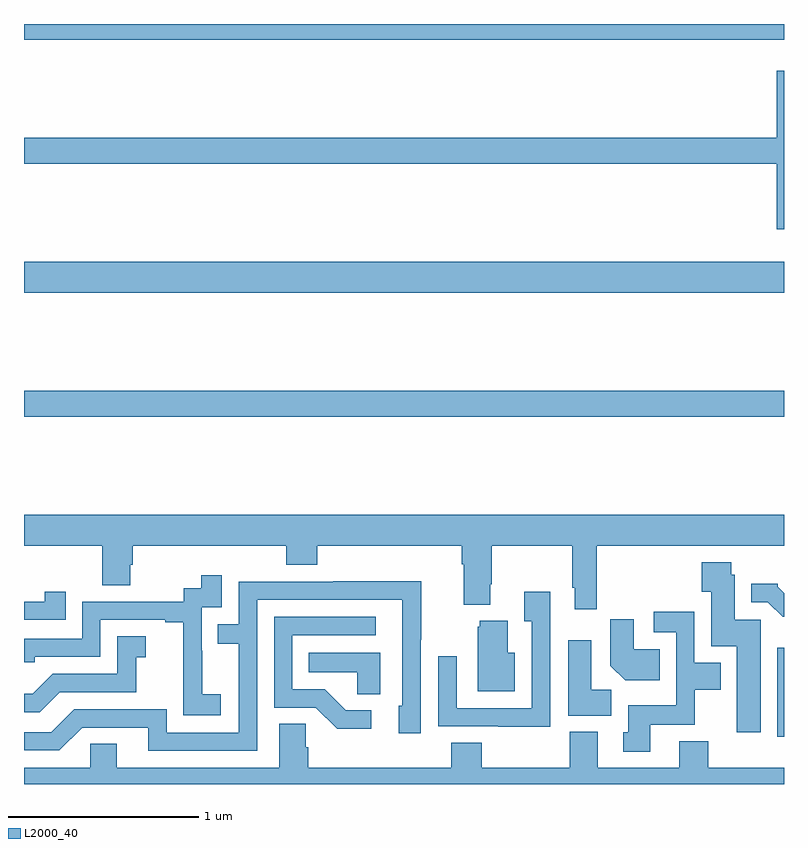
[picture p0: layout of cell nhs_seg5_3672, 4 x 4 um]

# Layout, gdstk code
import gdstk
lib = gdstk.Library(unit=1e-6, precision=1e-09)
def R(c, l, rs):  # rectangles x0, y0, x1, y1
    for r in rs: c.add(gdstk.rectangle(r[:2], r[2:], *l))
def P(c, l, *ps):  # polygons
    for p in ps: c.add(gdstk.Polygon(p, *l))
L2000_40 = (2000, 40)

nhs_seg5_3672 = lib.new_cell('nhs_seg5_3672')
R(nhs_seg5_3672, L2000_40, [(330.965,897.048,331,897.517), (327,898.732,331,898.868), (327,899.384,331,899.548), (327,900.716,331,900.799)])
P(nhs_seg5_3672, L2000_40, [(331,900.553),(330.962,900.553),(330.962,900.2),(327,900.2),(327,900.064),(330.962,900.064),(330.962,899.718),(331,899.718)],
  [(330.014,898.052),(331,898.052),(331,898.216),(327,898.216),(327,898.052),(327.412,898.052),(327.412,897.844),(327.559,897.844),(327.559,897.954),(327.572,897.954),(327.572,898.052),(328.379,898.052),(328.379,897.953),(328.544,897.953),(328.544,898.052),(329.303,898.052),(329.303,897.956),(329.315,897.956),(329.315,897.743),(329.455,897.743),(329.455,897.85),(329.463,897.85),(329.463,898.052),(329.886,898.052),(329.886,897.832),(329.898,897.832),(329.898,897.72),(330.014,897.72)],
  [(330.877,897.663),(330.742,897.663),(330.742,897.9),(330.723,897.9),(330.723,897.967),(330.566,897.967),(330.566,897.811),(330.617,897.811),(330.617,897.524),(330.752,897.524),(330.752,897.072),(330.877,897.072)],
  [(328.036,897.271),(327.938,897.271),(327.938,897.5),(327.936,897.5),(327.936,897.729),(328.041,897.729),(328.041,897.898),(327.933,897.898),(327.933,897.828),(327.84,897.828),(327.84,897.759),(327.306,897.759),(327.306,897.564),(327,897.564),(327,897.441),(327.057,897.441),(327.057,897.468),(327.402,897.468),(327.402,897.663),(327.743,897.663),(327.743,897.651),(327.839,897.651),(327.839,897.367),(327.838,897.367),(327.838,897.161),(328.036,897.161)],
  [(328.227,897.768),(328.992,897.768),(328.992,897.21),(328.973,897.21),(328.973,897.066),(329.088,897.066),(329.088,897.559),(329.091,897.559),(329.091,897.866),(328.627,897.866),(328.627,897.864),(328.131,897.864),(328.131,897.639),(328.021,897.639),(328.021,897.538),(328.131,897.538),(328.131,897.069),(327.75,897.069),(327.75,897.192),(327.264,897.192),(327.144,897.072),(327,897.072),(327,896.976),(327.186,896.976),(327.306,897.096),(327.653,897.096),(327.653,896.973),(328.227,896.973)],
  [(331,897.804),(330.966,897.838),(330.966,897.853),(330.827,897.853),(330.827,897.756),(330.915,897.756),(330.994,897.678),(331,897.678)],
  [(329.769,897.811),(329.633,897.811),(329.633,897.655),(329.673,897.655),(329.673,897.198),(329.277,897.198),(329.277,897.472),(329.181,897.472),(329.181,897.102),(329.497,897.102),(329.497,897.101),(329.769,897.101)],
  [(327.221,897.811),(327.11,897.811),(327.11,897.759),(327,897.759),(327,897.663),(327.221,897.663)],
  [(330.295,897.11),(330.531,897.11),(330.531,897.296),(330.667,897.296),(330.667,897.436),(330.528,897.436),(330.528,897.706),(330.315,897.706),(330.315,897.597),(330.432,897.597),(330.432,897.214),(330.179,897.214),(330.179,897.072),(330.155,897.072),(330.155,896.97),(330.295,896.97)],
  [(328.828,897.186),(328.693,897.186),(328.582,897.297),(328.413,897.297),(328.413,897.582),(328.852,897.582),(328.852,897.678),(328.317,897.678),(328.317,897.201),(328.536,897.201),(328.649,897.089),(328.828,897.089)],
  [(330.347,897.508),(330.208,897.508),(330.208,897.667),(330.086,897.667),(330.086,897.422),(330.164,897.344),(330.347,897.344)],
  [(329.584,897.49),(329.545,897.49),(329.545,897.658),(329.399,897.658),(329.399,897.627),(329.387,897.627),(329.387,897.287),(329.584,897.287)],
  [(327.187,897.282),(327.591,897.282),(327.591,897.467),(327.64,897.467),(327.64,897.577),(327.492,897.577),(327.492,897.378),(327.15,897.378),(327.046,897.274),(327,897.274),(327,897.177),(327.082,897.177)],
  [(330.091,897.296),(329.986,897.296),(329.986,897.556),(329.864,897.556),(329.864,897.158),(330.091,897.158)],
  [(328.876,897.49),(328.498,897.49),(328.498,897.386),(328.755,897.386),(328.755,897.271),(328.876,897.271)],
  [(331,896.884),(330.602,896.884),(330.602,897.025),(330.449,897.025),(330.449,896.884),(330.019,896.884),(330.019,897.073),(329.872,897.073),(329.872,896.884),(329.409,896.884),(329.409,897.017),(329.249,897.017),(329.249,896.884),(328.496,896.884),(328.496,896.993),(328.482,896.993),(328.482,897.116),(328.343,897.116),(328.343,896.884),(327.487,896.884),(327.487,897.011),(327.348,897.011),(327.348,896.884),(327,896.884),(327,896.799),(331,896.799)])

lib.write_gds('nhs_seg5_3672.gds')
